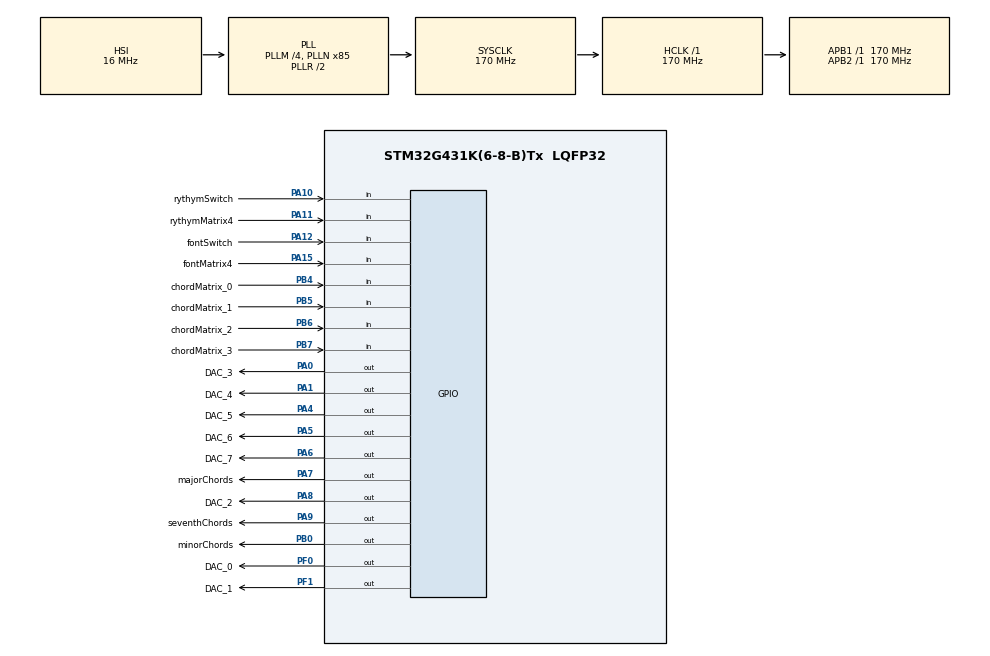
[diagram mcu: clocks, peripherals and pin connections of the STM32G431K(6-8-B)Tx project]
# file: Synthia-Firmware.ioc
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Mcu.Family=STM32G4
Mcu.Name=STM32G431K(6-8-B)Tx
Mcu.Package=LQFP32
NVIC.PriorityGroup=NVIC_PRIORITYGROUP_4
PA0.GPIO_Label=DAC_3
PA0.Signal=GPIO_Output
PA1.GPIO_Label=DAC_4
PA1.Signal=GPIO_Output
PA10.GPIO_Label=rythymSwitch
PA10.Signal=GPIO_Input
PA11.GPIO_Label=rythymMatrix4
PA11.Signal=GPIO_Input
PA12.GPIO_Label=fontSwitch
PA12.Signal=GPIO_Input
PA15.GPIO_Label=fontMatrix4
PA15.Signal=GPIO_Input
PA4.GPIO_Label=DAC_5
PA4.Signal=GPIO_Output
PA5.GPIO_Label=DAC_6
PA5.Signal=GPIO_Output
PA6.GPIO_Label=DAC_7
PA6.Signal=GPIO_Output
PA7.GPIO_Label=majorChords
PA7.Signal=GPIO_Output
PA8.GPIO_Label=DAC_2
PA8.Signal=GPIO_Output
PA9.GPIO_Label=seventhChords
PA9.Signal=GPIO_Output
PB0.GPIO_Label=minorChords
PB0.Signal=GPIO_Output
PB4.GPIO_Label=chordMatrix_0
PB4.Signal=GPIO_Input
PB5.GPIO_Label=chordMatrix_1
PB5.Signal=GPIO_Input
PB6.GPIO_Label=chordMatrix_2
PB6.Signal=GPIO_Input
PB7.GPIO_Label=chordMatrix_3
PB7.Signal=GPIO_Input
PF0-OSC_IN.GPIO_Label=DAC_0
PF0-OSC_IN.Signal=GPIO_Output
PF1-OSC_OUT.GPIO_Label=DAC_1
PF1-OSC_OUT.Signal=GPIO_Output
ProjectManager.HeapSize=0x200
ProjectManager.StackSize=0x400
ProjectManager.TargetToolchain=STM32CubeIDE
RCC.ADC12Freq_Value=170000000
RCC.AHBFreq_Value=170000000
RCC.APB1Freq_Value=170000000
RCC.APB1TimFreq_Value=170000000
RCC.APB2Freq_Value=170000000
RCC.APB2TimFreq_Value=170000000
RCC.CortexFreq_Value=170000000
RCC.EXTERNAL_CLOCK_VALUE=12288000
RCC.HCLKFreq_Value=170000000
RCC.HSE_VALUE=8000000
RCC.HSI48_VALUE=48000000
RCC.HSI_VALUE=16000000
RCC.LSE_VALUE=32768
RCC.PLLM=RCC_PLLM_DIV4
RCC.PLLN=85
RCC.SYSCLKFreq_VALUE=170000000
RCC.SYSCLKSource=RCC_SYSCLKSOURCE_PLLCLK
RCC.USBFreq_Value=170000000
RCC.VCOOutputFreq_Value=340000000
board=NUCLEO-G431KB

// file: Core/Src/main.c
/* USER CODE BEGIN Header */
/**
  ******************************************************************************
  * @file           : main.c
  * @brief          : Main program body
  ******************************************************************************
  * @attention
  *
  * Copyright (c) 2026 STMicroelectronics.
  * All rights reserved.
  *
  * This software is licensed under terms that can be found in the LICENSE file
  * in the root directory of this software component.
  * If no LICENSE file comes with this software, it is provided AS-IS.
  *
  ******************************************************************************
  */
/* USER CODE END Header */
#include "main.h"

/* USER CODE BEGIN Includes */
#include "AudioGenerator.h"
/* USER CODE END Includes */

void SystemClock_Config(void);
static void MX_GPIO_Init(void);

int main(void)
{

  /* MCU Configuration--------------------------------------------------------*/

  /* Reset of all peripherals, Initializes the Flash interface and the Systick. */
  HAL_Init();

  /* Configure the system clock */
  SystemClock_Config();

  /* Initialize all configured peripherals */
  MX_GPIO_Init();

  /* Infinite loop */
  while (1)
  {

    /* USER CODE BEGIN 3 */

	  //Determine the state of the chord matrix input pins (currently four pins, but a real matrix will be built for the final project)
	  /*GPIO_PinState chordMatrixZeroState =  HAL_GPIO_ReadPin(chordMatrix_0_GPIO_Port, chordMatrix_0_Pin);
	  GPIO_PinState chordMatrixOneState =  HAL_GPIO_ReadPin(chordMatrix_1_GPIO_Port, chordMatrix_1_Pin);
	  GPIO_PinState chordMatrixTwoState =  HAL_GPIO_ReadPin(chordMatrix_2_GPIO_Port, chordMatrix_2_Pin);
	  GPIO_PinState chordMatrixThreeState =  HAL_GPIO_ReadPin(chordMatrix_3_GPIO_Port, chordMatrix_3_Pin);*/

	  //Determine current system time in milliseconds
	  //TODO: Reduce to a higher frequency time measurement (ms is too large)
	  uint32_t systemTimeMS = HAL_GetTick();

	  //Setup DAC inputs unsigned integer [0,255]
	  int dacInput;
	  /*
	  if(chordMatrixZeroState == GPIO_PIN_SET) {
		  dacInput = generateChordValue_Unsigned8Bit(SQUARE_WAVE, CHORD_MAJOR, NOTE_CN, 1, systemTimeMS);
	  } else if (chordMatrixOneState == GPIO_PIN_SET) {
		  dacInput = generateChordValue_Unsigned8Bit(SQUARE_WAVE, CHORD_MINOR, NOTE_CN, 1, systemTimeMS);
	  } else if (chordMatrixTwoState == GPIO_PIN_SET) {
		  dacInput = generateChordValue_Unsigned8Bit(SQUARE_WAVE, CHORD_AUGMENTED, NOTE_CN, 1, systemTimeMS);
	  } else if (chordMatrixThreeState == GPIO_PIN_SET){
		  dacInput = generateChordValue_Unsigned8Bit(SQUARE_WAVE, CHORD_DIMINISHED, NOTE_CN, 1, systemTimeMS);
	  } else {
		  dacInput = 128;
	  }*/

	  dacInput = generateChordValue_Unsigned8Bit(SQUARE_WAVE, CHORD_MAJOR, NOTE_CN, 3, systemTimeMS);

	  int bitConversionArray[8];

	  for (int i = 0; i < 8; i++) {
		  bitConversionArray[i] = (dacInput >> i) & 1;
	  }

	  HAL_GPIO_WritePin(DAC_7_GPIO_Port, DAC_7_Pin, bitConversionArray[7]);		/* DAC Seven	*/
	  HAL_GPIO_WritePin(DAC_6_GPIO_Port, DAC_6_Pin, bitConversionArray[6]);		/* DAC Six		*/
	  HAL_GPIO_WritePin(DAC_5_GPIO_Port, DAC_5_Pin, bitConversionArray[5]);		/* DAC Five		*/
	  HAL_GPIO_WritePin(DAC_4_GPIO_Port, DAC_4_Pin, bitConversionArray[4]);		/* DAC Four		*/
	  HAL_GPIO_WritePin(DAC_3_GPIO_Port, DAC_3_Pin, bitConversionArray[3]);		/* DAC Three	*/
	  HAL_GPIO_WritePin(DAC_2_GPIO_Port, DAC_2_Pin, bitConversionArray[2]);		/* DAC Two		*/
	  HAL_GPIO_WritePin(DAC_1_GPIO_Port, DAC_1_Pin, bitConversionArray[1]);		/* DAC One		*/
	  HAL_GPIO_WritePin(DAC_0_GPIO_Port, DAC_0_Pin, bitConversionArray[0]);		/* DAC Zero		*/
  }
  /* USER CODE END 3 */
}

void SystemClock_Config(void)
{
  RCC_OscInitTypeDef RCC_OscInitStruct = {0};
  RCC_ClkInitTypeDef RCC_ClkInitStruct = {0};

  /** Configure the main internal regulator output voltage
  */
  HAL_PWREx_ControlVoltageScaling(PWR_REGULATOR_VOLTAGE_SCALE1_BOOST);

  /** Initializes the RCC Oscillators according to the specified parameters
  * in the RCC_OscInitTypeDef structure.
  */
  RCC_OscInitStruct.OscillatorType = RCC_OSCILLATORTYPE_HSI;
  RCC_OscInitStruct.HSIState = RCC_HSI_ON;
  RCC_OscInitStruct.HSICalibrationValue = RCC_HSICALIBRATION_DEFAULT;
  RCC_OscInitStruct.PLL.PLLState = RCC_PLL_ON;
  RCC_OscInitStruct.PLL.PLLSource = RCC_PLLSOURCE_HSI;
  RCC_OscInitStruct.PLL.PLLM = RCC_PLLM_DIV4;
  RCC_OscInitStruct.PLL.PLLN = 85;
  RCC_OscInitStruct.PLL.PLLP = RCC_PLLP_DIV2;
  RCC_OscInitStruct.PLL.PLLQ = RCC_PLLQ_DIV2;
  RCC_OscInitStruct.PLL.PLLR = RCC_PLLR_DIV2;
  if (HAL_RCC_OscConfig(&RCC_OscInitStruct) != HAL_OK)
  {
    Error_Handler();
  }

  /** Initializes the CPU, AHB and APB buses clocks
  */
  RCC_ClkInitStruct.ClockType = RCC_CLOCKTYPE_HCLK|RCC_CLOCKTYPE_SYSCLK
                              |RCC_CLOCKTYPE_PCLK1|RCC_CLOCKTYPE_PCLK2;
  RCC_ClkInitStruct.SYSCLKSource = RCC_SYSCLKSOURCE_PLLCLK;
  RCC_ClkInitStruct.AHBCLKDivider = RCC_SYSCLK_DIV1;
  RCC_ClkInitStruct.APB1CLKDivider = RCC_HCLK_DIV1;
  RCC_ClkInitStruct.APB2CLKDivider = RCC_HCLK_DIV1;

  if (HAL_RCC_ClockConfig(&RCC_ClkInitStruct, FLASH_LATENCY_4) != HAL_OK)
  {
    Error_Handler();
  }
}

static void MX_GPIO_Init(void)
{
  GPIO_InitTypeDef GPIO_InitStruct = {0};

  /* GPIO Ports Clock Enable */
  __HAL_RCC_GPIOF_CLK_ENABLE();
  __HAL_RCC_GPIOA_CLK_ENABLE();
  __HAL_RCC_GPIOB_CLK_ENABLE();

  /*Configure GPIO pin Output Level */
  HAL_GPIO_WritePin(GPIOF, DAC_0_Pin|DAC_1_Pin, GPIO_PIN_RESET);

  /*Configure GPIO pin Output Level */
  HAL_GPIO_WritePin(GPIOA, DAC_3_Pin|DAC_4_Pin|DAC_5_Pin|DAC_6_Pin
                          |DAC_7_Pin|majorChords_Pin|DAC_2_Pin|seventhChords_Pin, GPIO_PIN_RESET);

  /*Configure GPIO pin Output Level */
  HAL_GPIO_WritePin(minorChords_GPIO_Port, minorChords_Pin, GPIO_PIN_RESET);

  /*Configure GPIO pins : DAC_0_Pin DAC_1_Pin */
  GPIO_InitStruct.Pin = DAC_0_Pin|DAC_1_Pin;
  GPIO_InitStruct.Mode = GPIO_MODE_OUTPUT_PP;
  GPIO_InitStruct.Pull = GPIO_NOPULL;
  GPIO_InitStruct.Speed = GPIO_SPEED_FREQ_LOW;
  HAL_GPIO_Init(GPIOF, &GPIO_InitStruct);

  /*Configure GPIO pins : DAC_3_Pin DAC_4_Pin DAC_5_Pin DAC_6_Pin
                           DAC_7_Pin majorChords_Pin DAC_2_Pin seventhChords_Pin */
  GPIO_InitStruct.Pin = DAC_3_Pin|DAC_4_Pin|DAC_5_Pin|DAC_6_Pin
                          |DAC_7_Pin|majorChords_Pin|DAC_2_Pin|seventhChords_Pin;
  GPIO_InitStruct.Mode = GPIO_MODE_OUTPUT_PP;
  GPIO_InitStruct.Pull = GPIO_NOPULL;
  GPIO_InitStruct.Speed = GPIO_SPEED_FREQ_LOW;
  HAL_GPIO_Init(GPIOA, &GPIO_InitStruct);

  /*Configure GPIO pin : minorChords_Pin */
  GPIO_InitStruct.Pin = minorChords_Pin;
  GPIO_InitStruct.Mode = GPIO_MODE_OUTPUT_PP;
  GPIO_InitStruct.Pull = GPIO_NOPULL;
  GPIO_InitStruct.Speed = GPIO_SPEED_FREQ_LOW;
  HAL_GPIO_Init(minorChords_GPIO_Port, &GPIO_InitStruct);

  /*Configure GPIO pins : rythymSwitch_Pin rythymMatrix4_Pin fontSwitch_Pin fontMatrix4_Pin */
  GPIO_InitStruct.Pin = rythymSwitch_Pin|rythymMatrix4_Pin|fontSwitch_Pin|fontMatrix4_Pin;
  GPIO_InitStruct.Mode = GPIO_MODE_INPUT;
  GPIO_InitStruct.Pull = GPIO_NOPULL;
  HAL_GPIO_Init(GPIOA, &GPIO_InitStruct);

  /*Configure GPIO pins : chordMatrix_0_Pin chordMatrix_1_Pin chordMatrix_2_Pin chordMatrix_3_Pin */
  GPIO_InitStruct.Pin = chordMatrix_0_Pin|chordMatrix_1_Pin|chordMatrix_2_Pin|chordMatrix_3_Pin;
  GPIO_InitStruct.Mode = GPIO_MODE_INPUT;
  GPIO_InitStruct.Pull = GPIO_NOPULL;
  HAL_GPIO_Init(GPIOB, &GPIO_InitStruct);

}

void Error_Handler(void)
{
  __disable_irq();
  while (1)
  {
  }
}
